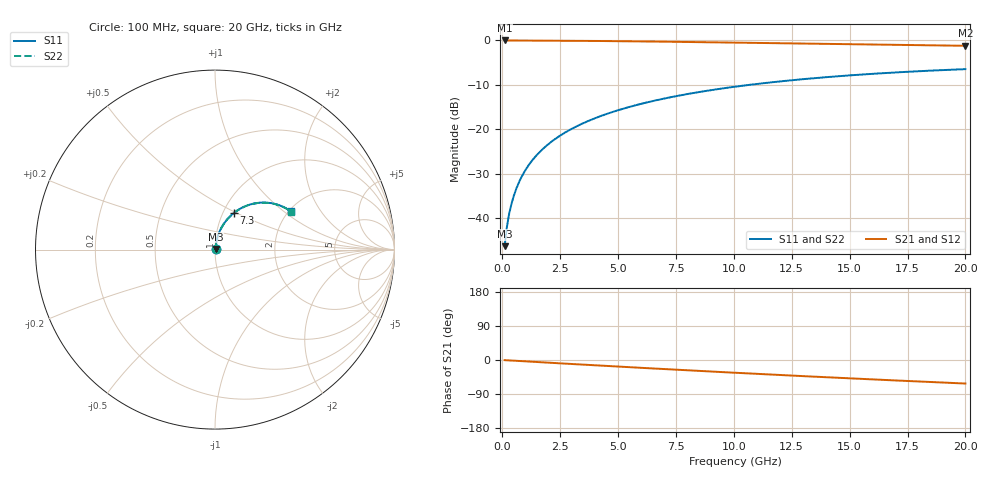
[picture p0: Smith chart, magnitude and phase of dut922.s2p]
! Touchstone file exported from HFSS 2026.1.0
!  File:  C:/ffzhzh/LocalFiles/Ansys_Project_Files/temp_train_TMRDL_922_1783158175_55132.aedt
!  Generated:  05:44:15 PM Jul  4, 2026
!  Design:  TMRDL
!  Project:  temp_train_TMRDL_922_1783158175_55132
! Variables:
!  h_bsmrdl = 2um
!  h_ox = 20um
!  h_rdl = 5um
!  h_sub = 80um
!  h_tmrdl = 4.89um
!  h_tsv = 80um
!  h_via = 3um
!  l_bsmrdl = 300um
!  l_sub = 1396.42um
!  l_tmrdl = 996.42um
!  m_sub = 200um
!  pitch = 55.11um
!  r_tsv = 6um
!  s_tmrdl = 10um
!  w_bsmrdl = 18um
!  w_sub = 500um
!  w_tmrdl = 25.79um
!  x_tsv_center1 = 1009.315um
!  x_tsv_center2 = 1327.315um
!  x_tsv_center3 = 2349.525um
!  x_tsv_center4 = 2667.525um
!  x_tsv_center5 = 3689.735um
!  x_tsv_center6 = 4007.735um
# GHz S MA R 50.000000
! Terminal data exported
! Port[1] = TM_RDL1_1_T1
! Port[2] = TM_RDL1_1_T2
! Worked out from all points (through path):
!   200 points, 100 MHz to 20 GHz, reference 50 ohm
!   highest |S21| = -0.03 dB at 100 MHz (marker M1); lowest = -1.2 dB at 20 GHz (marker M2)
!   group delay of S21, straight-line fit = 8.62 ps
!   lowest |S11| = -46.3 dB at 100 MHz (marker M3), VSWR 1.01, Z = 50.3 + j0.376 ohm
!   |S11| at or under -10 dB: start of sweep to 10.71 GHz
!   |S22| runs from -46.3 to -6.5 dB; largest |S21 - S12| = 1.3e-14
!   S11 on the Smith chart (normalised r, x): 100 MHz: 1.01, +0.01; 7.3 GHz: 1.12, +0.48; 20 GHz: 2.05, +1.13
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0.1  0.004816 50.8  0.997 -0.4  0.997 -0.4  0.004816 50.8
! Gamma 0 0 0 0
! Port Impedance 50 0 50 0
0.2  0.007996 65.2  0.9967 -0.7  0.9967 -0.7  0.007996 65.2
0.3  0.01126 71.1  0.9965 -1.1  0.9965 -1.1  0.01126 71.1
0.4  0.01455 74.3  0.9963 -1.4  0.9963 -1.4  0.01455 74.3
0.5  0.01786 76.3  0.9962 -1.8  0.9962 -1.8  0.01786 76.3
0.7  0.02455 78.6  0.9959 -2.5  0.9959 -2.5  0.02455 78.6
1  0.03464 79.8  0.9954 -3.6  0.9954 -3.6  0.03464 79.8
1.2  0.04138 80.0  0.995 -4.3  0.995 -4.3  0.04138 80.0
1.4  0.04811 79.9  0.9946 -5.0  0.9946 -5.0  0.04811 79.9
1.7  0.05817 79.5  0.9938 -6.0  0.9938 -6.0  0.05817 79.5
2  0.06817 78.9  0.9929 -7.1  0.9929 -7.1  0.06817 78.9
2.7  0.0912 77.1  0.9903 -9.5  0.9903 -9.5  0.0912 77.0
3.5  0.1169 74.6  0.9868 -12.3  0.9868 -12.3  0.1169 74.6
4.2  0.1389 72.5  0.9832 -14.6  0.9832 -14.6  0.1389 72.4
5  0.1634 69.9  0.9787 -17.3  0.9787 -17.3  0.1634 69.9
6.8  0.2158 64.3  0.9672 -23.3  0.9672 -23.3  0.2158 64.2
7.3  0.2297 62.7  0.9637 -24.9  0.9637 -24.9  0.2297 62.7
8.6  0.2644 58.7  0.9542 -29.1  0.9542 -29.1  0.2644 58.7
10.1  0.3018 54.2  0.9425 -33.8  0.9425 -33.8  0.3018 54.1
13.4  0.3736 44.6  0.9159 -43.8  0.9159 -43.8  0.3737 44.4
16.7  0.4308 35.4  0.8904 -53.2  0.8904 -53.2  0.4308 35.2
20  0.474 26.7  0.8683 -62.1  0.8683 -62.1  0.474 26.4
